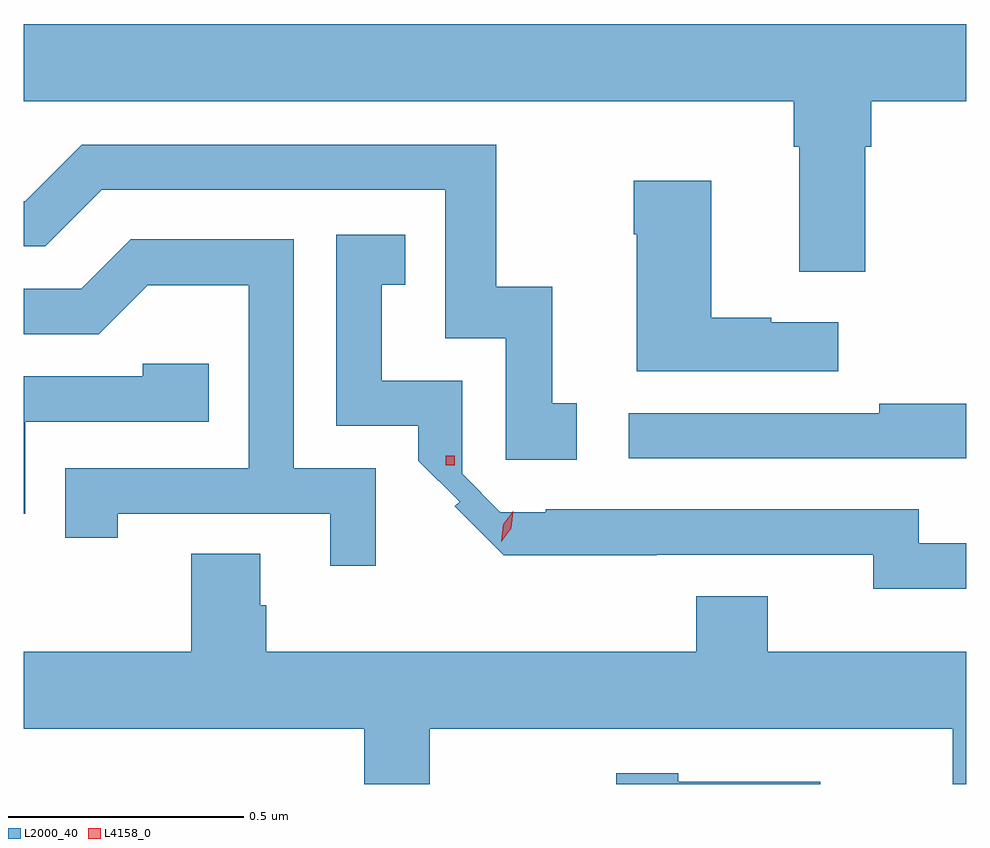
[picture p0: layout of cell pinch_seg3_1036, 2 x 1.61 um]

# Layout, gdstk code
import gdstk
lib = gdstk.Library(unit=1e-6, precision=1e-09)
def R(c, l, rs):  # rectangles x0, y0, x1, y1
    for r in rs: c.add(gdstk.rectangle(r[:2], r[2:], *l))
def P(c, l, *ps):  # polygons
    for p in ps: c.add(gdstk.Polygon(p, *l))
L2000_40 = (2000, 40)
L4158_0 = (4158, 0)

pinch_seg3_1036 = lib.new_cell('pinch_seg3_1036')
P(pinch_seg3_1036, L2000_40, [(497.053,702.152),(497.066,702.152),(497.066,702.248),(497.267,702.248),(497.267,702.412),(495.267,702.412),(495.267,702.248),(496.901,702.248),(496.901,702.152),(496.913,702.152),(496.913,701.886),(497.053,701.886)],
  [(496.441,701.607),(496.388,701.607),(496.388,701.854),(496.27,701.854),(496.27,702.156),(495.39,702.156),(495.27,702.036),(495.267,702.036),(495.267,701.94),(495.312,701.94),(495.432,702.06),(496.161,702.06),(496.161,701.745),(496.29,701.745),(496.29,701.487),(496.441,701.487)],
  [(496.996,701.779),(496.853,701.779),(496.853,701.789),(496.726,701.789),(496.726,702.079),(496.561,702.079),(496.561,701.966),(496.568,701.966),(496.568,701.675),(496.996,701.675)],
  [(497.267,701.31),(497.166,701.31),(497.166,701.382),(496.375,701.382),(496.375,701.376),(496.278,701.376),(496.197,701.457),(496.197,701.655),(496.027,701.655),(496.027,701.859),(496.076,701.859),(496.076,701.965),(495.93,701.965),(495.93,701.559),(496.104,701.559),(496.104,701.485),(496.192,701.398),(496.182,701.388),(496.286,701.285),(496.61,701.285),(496.61,701.286),(497.07,701.286),(497.07,701.213),(497.267,701.213)],
  [(496.014,701.469),(495.84,701.469),(495.84,701.955),(495.494,701.955),(495.389,701.85),(495.267,701.85),(495.267,701.754),(495.426,701.754),(495.53,701.858),(495.744,701.858),(495.744,701.469),(495.355,701.469),(495.355,701.322),(495.466,701.322),(495.466,701.373),(495.917,701.373),(495.917,701.262),(496.014,701.262)],
  [(495.27,701.568),(495.659,701.568),(495.659,701.691),(495.519,701.691),(495.519,701.664),(495.267,701.664),(495.267,701.373),(495.27,701.373)],
  [(497.267,701.606),(497.083,701.606),(497.083,701.586),(496.551,701.586),(496.551,701.49),(497.267,701.49)],
  [(496.129,700.916),(497.239,700.916),(497.239,700.799),(497.267,700.799),(497.267,701.08),(496.846,701.08),(496.846,701.197),(496.694,701.197),(496.694,701.08),(495.782,701.08),(495.782,701.178),(495.769,701.178),(495.769,701.288),(495.622,701.288),(495.622,701.08),(495.267,701.08),(495.267,700.916),(495.989,700.916),(495.989,700.799),(496.129,700.799)],
  [(496.957,700.804),(496.656,700.804),(496.656,700.822),(496.524,700.822),(496.524,700.799),(496.957,700.799)])
R(pinch_seg3_1036, L4158_0, [(496.162,701.476,496.182,701.496)])
P(pinch_seg3_1036, L4158_0, [(496.28,701.313),(496.28,701.313),(496.284,701.35),(496.306,701.378),(496.306,701.378),(496.306,701.378),(496.302,701.342),(496.28,701.313)])

lib.write_gds('pinch_seg3_1036.gds')
